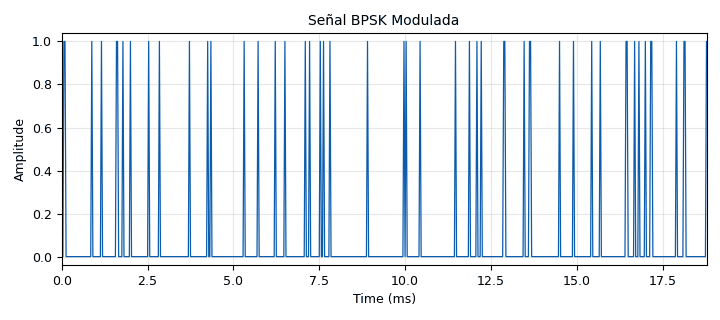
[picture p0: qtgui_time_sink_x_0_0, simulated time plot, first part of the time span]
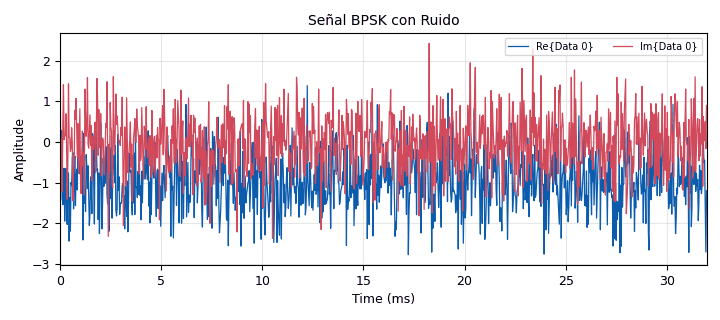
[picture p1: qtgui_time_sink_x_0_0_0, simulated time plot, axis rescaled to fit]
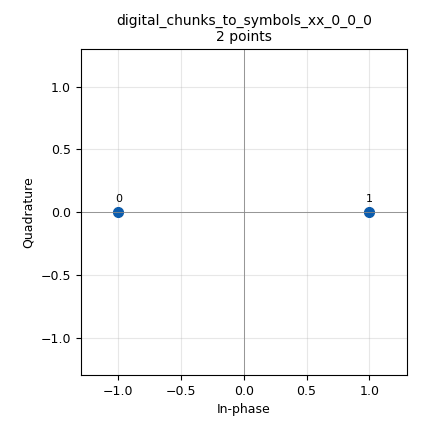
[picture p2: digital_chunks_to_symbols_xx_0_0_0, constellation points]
options:
  parameters:
    author: diego
    generate_options: qt_gui
    id: lab4_Presencial2
    output_language: python
    title: Not titled yet
  states: {}

blocks:
- name: constellation_object
  id: variable_constellation
  parameters:
    precision: '8'
    type: bpsk
  states: {}
- name: constellation_type
  id: variable
  parameters:
    value: '32000'
  states: {}
- name: noise_amp
  id: variable
  parameters:
    value: '1'
  states: {}
- name: samp_rate
  id: variable
  parameters:
    value: '32000'
  states: {}
- name: analog_noise_source_x_0
  id: analog_noise_source_x
  parameters:
    amp: noise_amp
    noise_type: analog.GR_GAUSSIAN
    seed: '0'
    type: complex
  states: {state: disabled}
- name: analog_noise_source_x_0_0_0
  id: analog_noise_source_x
  parameters:
    amp: noise_amp
    noise_type: analog.GR_GAUSSIAN
    seed: '0'
    type: complex
  states: {}
- name: analog_random_source_x_0
  id: analog_random_source_x
  parameters:
    max: '1'
    min: '0'
    num_samps: '1000'
    repeat: 'True'
    type: byte
  states: {state: disabled}
- name: analog_random_source_x_0_0_0
  id: analog_random_source_x
  parameters:
    max: '1'
    min: '0'
    num_samps: '1000'
    repeat: 'True'
    type: byte
  states: {}
- name: blocks_add_xx_0
  id: blocks_add_xx
  parameters:
    type: complex
  states: {state: disabled}
- name: blocks_add_xx_0_0_0
  id: blocks_add_xx
  parameters:
    type: complex
  states: {}
- name: blocks_throttle2_0_0
  id: blocks_throttle2
  parameters:
    samples_per_second: samp_rate
    type: byte
  states: {}
- name: blocks_uchar_to_float_1
  id: blocks_uchar_to_float
  parameters: {}
  states: {}
- name: digital_chunks_to_symbols_xx_0
  id: digital_chunks_to_symbols_xx
  parameters:
    dimension: '1'
    in_type: byte
    out_type: complex
    symbol_table: constellation_object.points()
  states: {state: disabled}
- name: digital_chunks_to_symbols_xx_0_0_0
  id: digital_chunks_to_symbols_xx
  parameters:
    dimension: '1'
    in_type: byte
    out_type: complex
    symbol_table: constellation_object.points()
  states: {}
- name: digital_constellation_decoder_cb_0
  id: digital_constellation_decoder_cb
  parameters:
    constellation: constellation_object
  states: {state: disabled}
- name: digital_constellation_decoder_cb_0_0_0
  id: digital_constellation_decoder_cb
  parameters:
    constellation: constellation_object
  states: {}
- name: fec_ber_bf_0
  id: fec_ber_bf
  parameters:
    test_mode: 'False'
  states: {state: disabled}
- name: fec_ber_bf_0_0_0
  id: fec_ber_bf
  parameters:
    test_mode: 'False'
  states: {state: disabled}
- name: fec_ber_bf_0_0_1
  id: fec_ber_bf
  parameters:
    test_mode: 'False'
  states: {}
- name: qtgui_number_sink_0
  id: qtgui_number_sink
  parameters:
    graph_type: qtgui.NUM_GRAPH_HORIZ
    type: float
  states: {state: disabled}
- name: qtgui_number_sink_0_0_0
  id: qtgui_number_sink
  parameters:
    graph_type: qtgui.NUM_GRAPH_HORIZ
    type: byte
  states: {}
- name: qtgui_number_sink_0_0_1
  id: qtgui_number_sink
  parameters:
    graph_type: qtgui.NUM_GRAPH_HORIZ
    type: float
  states: {}
- name: qtgui_time_sink_x_0_0
  id: qtgui_time_sink_x
  parameters:
    name: Señal BPSK Modulada
    size: '1024'
    srate: samp_rate
    type: float
    ymin: '0'
  states: {}
- name: qtgui_time_sink_x_0_0_0
  id: qtgui_time_sink_x
  parameters:
    name: Señal BPSK con Ruido
    size: '1024'
    srate: samp_rate
    type: complex
    ymax: '1.5'
    ymin: '-2'
  states: {}

connections:
- [analog_noise_source_x_0, '0', blocks_add_xx_0, '1']
- [analog_noise_source_x_0_0_0, '0', blocks_add_xx_0_0_0, '1']
- [analog_random_source_x_0, '0', digital_chunks_to_symbols_xx_0, '0']
- [analog_random_source_x_0, '0', fec_ber_bf_0, '0']
- [analog_random_source_x_0_0_0, '0', blocks_throttle2_0_0, '0']
- [analog_random_source_x_0_0_0, '0', fec_ber_bf_0_0_0, '0']
- [analog_random_source_x_0_0_0, '0', fec_ber_bf_0_0_1, '0']
- [blocks_add_xx_0, '0', digital_constellation_decoder_cb_0, '0']
- [blocks_add_xx_0_0_0, '0', digital_constellation_decoder_cb_0_0_0, '0']
- [blocks_add_xx_0_0_0, '0', qtgui_time_sink_x_0_0_0, '0']
- [blocks_throttle2_0_0, '0', digital_chunks_to_symbols_xx_0_0_0, '0']
- [blocks_uchar_to_float_1, '0', qtgui_time_sink_x_0_0, '0']
- [digital_chunks_to_symbols_xx_0, '0', blocks_add_xx_0, '0']
- [digital_chunks_to_symbols_xx_0_0_0, '0', blocks_add_xx_0_0_0, '0']
- [digital_constellation_decoder_cb_0, '0', fec_ber_bf_0, '1']
- [digital_constellation_decoder_cb_0_0_0, '0', blocks_uchar_to_float_1, '0']
- [digital_constellation_decoder_cb_0_0_0, '0', fec_ber_bf_0_0_0, '1']
- [digital_constellation_decoder_cb_0_0_0, '0', fec_ber_bf_0_0_1, '1']
- [digital_constellation_decoder_cb_0_0_0, '0', qtgui_number_sink_0_0_0, '0']
- [fec_ber_bf_0, '0', qtgui_number_sink_0, '0']
- [fec_ber_bf_0_0_0, '0', qtgui_number_sink_0_0_0, '0']
- [fec_ber_bf_0_0_1, '0', qtgui_number_sink_0_0_1, '0']

metadata:
  file_format: 1
  grc_version: 3.10.9.2
